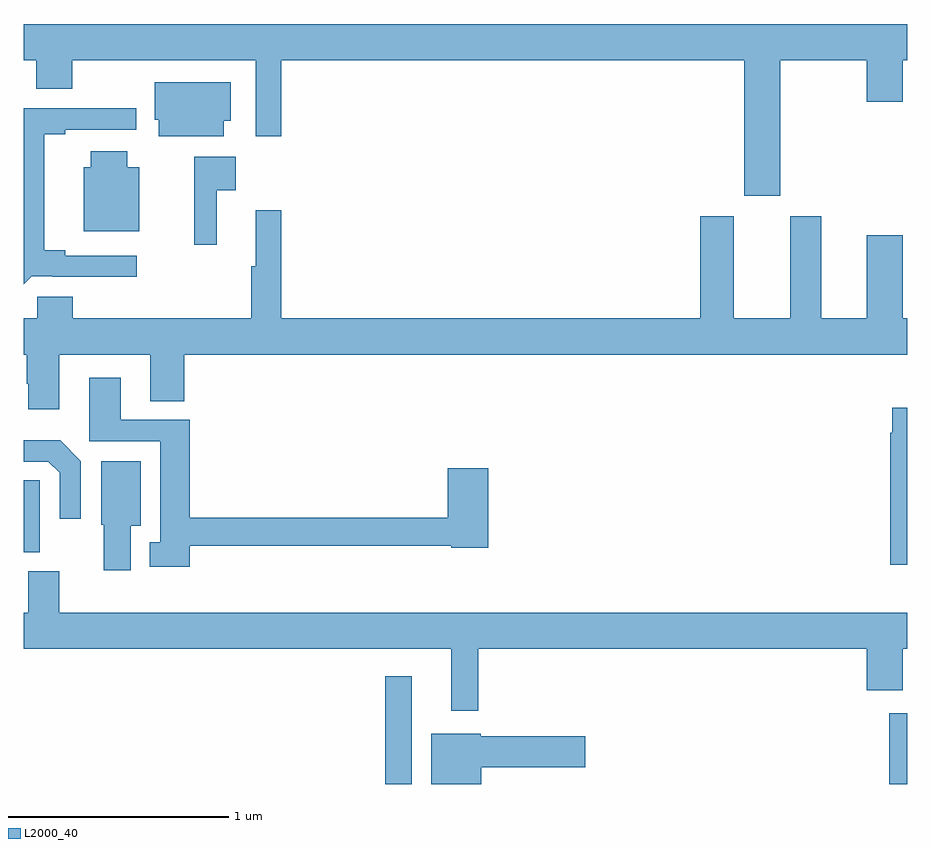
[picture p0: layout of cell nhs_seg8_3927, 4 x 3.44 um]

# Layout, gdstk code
import gdstk
lib = gdstk.Library(unit=1e-6, precision=1e-09)
def R(c, l, rs):  # rectangles x0, y0, x1, y1
    for r in rs: c.add(gdstk.rectangle(r[:2], r[2:], *l))
def P(c, l, *ps):  # polygons
    for p in ps: c.add(gdstk.Polygon(p, *l))
L2000_40 = (2000, 40)

nhs_seg8_3927 = lib.new_cell('nhs_seg8_3927')
R(nhs_seg8_3927, L2000_40, [(354.636,1103.9,354.757,1104.388), (356.918,1103.9,357,1104.22)])
P(nhs_seg8_3927, L2000_40, [(356.425,1107.176),(356.816,1107.176),(356.816,1106.988),(356.98,1106.988),(356.98,1107.176),(357,1107.176),(357,1107.34),(353,1107.34),(353,1107.176),(353.057,1107.176),(353.057,1107.048),(353.221,1107.048),(353.221,1107.176),(354.051,1107.176),(354.051,1106.832),(354.167,1106.832),(354.167,1107.176),(356.261,1107.176),(356.261,1106.562),(356.425,1106.562)],
  [(353.905,1106.903),(353.938,1106.903),(353.938,1107.076),(353.594,1107.076),(353.594,1106.907),(353.612,1106.907),(353.612,1106.831),(353.905,1106.831)],
  [(353.037,1106.199),(353.131,1106.199),(353.131,1106.195),(353.512,1106.195),(353.512,1106.292),(353.188,1106.292),(353.188,1106.315),(353.093,1106.315),(353.093,1106.842),(353.188,1106.842),(353.188,1106.862),(353.509,1106.862),(353.509,1106.958),(353,1106.958),(353,1106.163)],
  [(353.524,1106.692),(353.469,1106.692),(353.469,1106.764),(353.303,1106.764),(353.303,1106.692),(353.273,1106.692),(353.273,1106.402),(353.524,1106.402)],
  [(353.873,1106.588),(353.959,1106.588),(353.959,1106.74),(353.773,1106.74),(353.773,1106.34),(353.873,1106.34)],
  [(353.161,1105.844),(353.573,1105.844),(353.573,1105.633),(353.726,1105.633),(353.726,1105.844),(357,1105.844),(357,1106.008),(356.98,1106.008),(356.98,1106.383),(356.816,1106.383),(356.816,1106.008),(356.611,1106.008),(356.611,1106.47),(356.471,1106.47),(356.471,1106.008),(356.215,1106.008),(356.215,1106.47),(356.063,1106.47),(356.063,1106.008),(354.167,1106.008),(354.167,1106.497),(354.05,1106.497),(354.05,1106.244),(354.031,1106.244),(354.031,1106.008),(353.222,1106.008),(353.222,1106.106),(353.062,1106.106),(353.062,1106.008),(353,1106.008),(353,1105.844),(353.014,1105.844),(353.014,1105.711),(353.021,1105.711),(353.021,1105.596),(353.161,1105.596)],
  [(353.753,1104.978),(354.936,1104.978),(354.936,1104.97),(355.103,1104.97),(355.103,1105.33),(354.92,1105.33),(354.92,1105.106),(353.753,1105.106),(353.753,1105.548),(353.44,1105.548),(353.44,1105.738),(353.297,1105.738),(353.297,1105.452),(353.618,1105.452),(353.618,1104.994),(353.57,1104.994),(353.57,1104.884),(353.753,1104.884)],
  [(357,1105.603),(356.931,1105.603),(356.931,1105.49),(356.923,1105.49),(356.923,1104.893),(357,1104.893)],
  [(353.259,1105.362),(353.165,1105.456),(353,1105.456),(353,1105.359),(353.112,1105.359),(353.163,1105.308),(353.163,1105.101),(353.259,1105.101)],
  [(353.485,1105.07),(353.53,1105.07),(353.53,1105.36),(353.351,1105.36),(353.351,1105.074),(353.363,1105.074),(353.363,1104.867),(353.485,1104.867)],
  [(353.074,1105.163),(353.073,1105.163),(353.073,1105.274),(353,1105.274),(353,1104.949),(353.074,1104.949)],
  [(355.057,1104.512),(356.816,1104.512),(356.816,1104.324),(356.98,1104.324),(356.98,1104.512),(357,1104.512),(357,1104.676),(353.161,1104.676),(353.161,1104.864),(353.021,1104.864),(353.021,1104.676),(353,1104.676),(353,1104.512),(354.935,1104.512),(354.935,1104.231),(355.057,1104.231)],
  [(355.072,1103.975),(355.543,1103.975),(355.543,1104.117),(355.068,1104.117),(355.068,1104.127),(354.845,1104.127),(354.845,1103.9),(355.072,1103.9)])

lib.write_gds('nhs_seg8_3927.gds')
